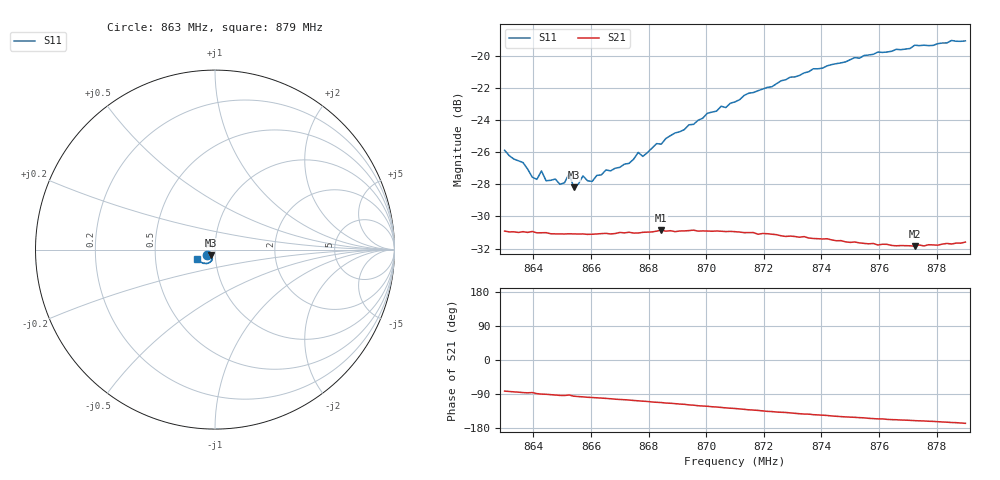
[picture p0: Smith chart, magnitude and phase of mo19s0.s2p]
# HZ S RI R 50
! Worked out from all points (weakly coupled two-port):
!   101 points, 863 MHz to 879 MHz, reference 50 ohm
!   highest |S21| = -30.85 dB at 868.44 MHz (marker M1); lowest = -31.9 dB at 877.24 MHz (marker M2)
!   lowest |S11| = -28.2 dB at 865.4 MHz (marker M3), VSWR 1.08, Z = 47.7 - j3.07 ohm
!   |S11| at or under -10 dB: start of sweep to end of sweep
!   S12 and S22 are empty: the file has one direction only
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8.63e8  -0.0421 -0.0284  0.0039 -0.0282  0 0  0 0
8.6364e8  -0.0368 -0.0285  0.00201 -0.0283  0 0  0 0
8.6396e8  -0.0308 -0.0284  0.00204 -0.0283  0 0  0 0
8.6412e8  -0.0306 -0.0277  0.000666 -0.0281  0 0  0 0
8.6428e8  -0.0307 -0.0312  2.3e-05 -0.0281  0 0  0 0
8.6444e8  -0.0282 -0.0295  -0.000239 -0.0281  0 0  0 0
8.6492e8  -0.0258 -0.0303  -0.00166 -0.0278  0 0  0 0
8.6524e8  -0.0292 -0.0314  -0.00112 -0.0279  0 0  0 0
8.654e8  -0.0222 -0.0321  -0.00267 -0.0278  0 0  0 0
8.6572e8  -0.0217 -0.0363  -0.00351 -0.0277  0 0  0 0
8.6604e8  -0.0198 -0.0354  -0.00434 -0.0275  0 0  0 0
8.6652e8  -0.0181 -0.0402  -0.0055 -0.0275  0 0  0 0
8.6732e8  -0.0162 -0.0433  -0.00759 -0.0272  0 0  0 0
8.6764e8  -0.0171 -0.047  -0.00853 -0.0267  0 0  0 0
8.678e8  -0.0156 -0.046  -0.00901 -0.0267  0 0  0 0
8.6844e8  -0.0159 -0.0506  -0.0108 -0.0265  0 0  0 0
8.7004e8  -0.0196 -0.0632  -0.0151 -0.0241  0 0  0 0
8.71e8  -0.0252 -0.0673  -0.0174 -0.0224  0 0  0 0
8.7372e8  -0.0466 -0.0783  -0.0219 -0.0158  0 0  0 0
8.7644e8  -0.0748 -0.0712  -0.0237 -0.0099  0 0  0 0
8.7724e8  -0.084 -0.0676  -0.024 -0.00875  0 0  0 0
8.79e8  -0.0982 -0.0522  -0.0257 -0.00584  0 0  0 0
